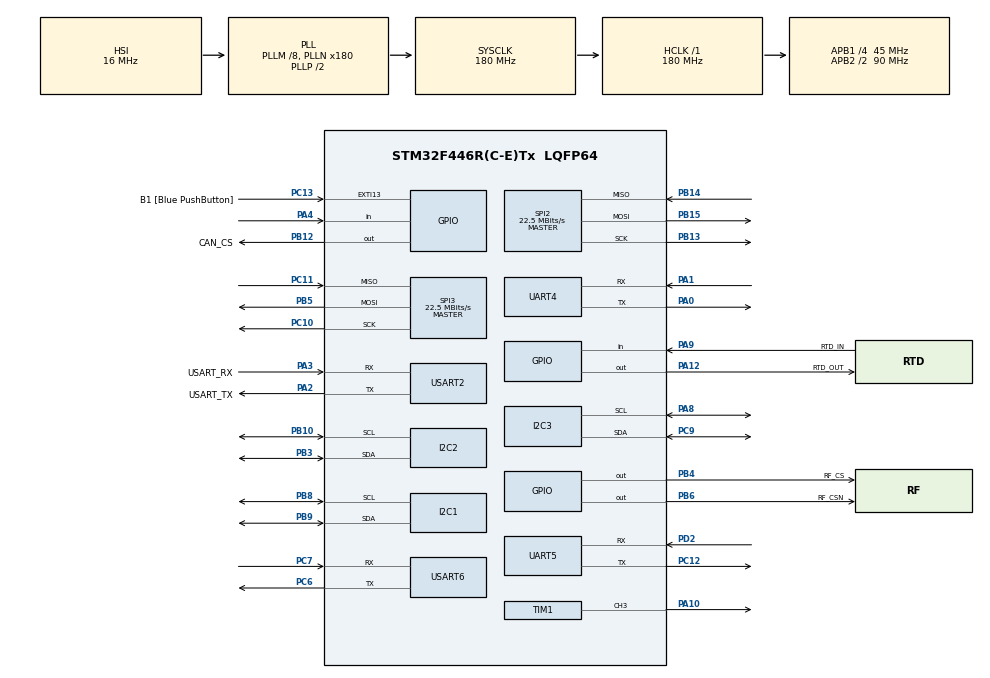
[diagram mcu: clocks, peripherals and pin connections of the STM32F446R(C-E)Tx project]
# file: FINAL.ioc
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Mcu.Family=STM32F4
Mcu.Name=STM32F446R(C-E)Tx
Mcu.Package=LQFP64
NVIC.PriorityGroup=NVIC_PRIORITYGROUP_0
NVIC.UART4_IRQn=true\:0\:0\:false\:false\:true\:true\:true
NVIC.UART5_IRQn=true\:0\:0\:false\:false\:true\:true\:true
PA0-WKUP.Mode=Asynchronous
PA0-WKUP.Signal=UART4_TX
PA1.Mode=Asynchronous
PA1.Signal=UART4_RX
PA10.Signal=S_TIM1_CH3
PA12.GPIO_Label=RTD_OUT
PA12.GPIO_Speed=GPIO_SPEED_FREQ_HIGH
PA12.PinState=GPIO_PIN_RESET
PA12.Signal=GPIO_Output
PA13.GPIO_Label=TMS
PA13.Mode=Serial_Wire
PA13.Signal=SYS_JTMS-SWDIO
PA14.GPIO_Label=TCK
PA14.Mode=Serial_Wire
PA14.Signal=SYS_JTCK-SWCLK
PA2.GPIO_Label=USART_TX
PA2.Mode=Asynchronous
PA2.Signal=USART2_TX
PA3.GPIO_Label=USART_RX
PA3.Mode=Asynchronous
PA3.Signal=USART2_RX
PA4.Signal=GPIO_Input
PA8.Mode=I2C
PA8.Signal=I2C3_SCL
PA9.GPIO_Label=RTD_IN
PA9.Signal=GPIO_Input
PB10.Mode=I2C
PB10.Signal=I2C2_SCL
PB12.GPIO_Label=CAN_CS
PB12.PinState=GPIO_PIN_SET
PB12.Signal=GPIO_Output
PB13.Mode=Full_Duplex_Master
PB13.Signal=SPI2_SCK
PB14.Mode=Full_Duplex_Master
PB14.Signal=SPI2_MISO
PB15.Mode=Full_Duplex_Master
PB15.Signal=SPI2_MOSI
PB3.Mode=I2C
PB3.Signal=I2C2_SDA
PB4.GPIO_Label=RF_CS
PB4.PinState=GPIO_PIN_SET
PB4.Signal=GPIO_Output
PB5.Mode=Full_Duplex_Master
PB5.Signal=SPI3_MOSI
PB6.GPIO_Label=RF_CSN
PB6.PinState=GPIO_PIN_SET
PB6.Signal=GPIO_Output
PB8.Mode=I2C
PB8.Signal=I2C1_SCL
PB9.Mode=I2C
PB9.Signal=I2C1_SDA
PC10.Mode=Full_Duplex_Master
PC10.Signal=SPI3_SCK
PC11.Mode=Full_Duplex_Master
PC11.Signal=SPI3_MISO
PC12.Mode=Asynchronous
PC12.Signal=UART5_TX
PC13.GPIO_Label=B1 [Blue PushButton]
PC13.GPIO_ModeDefaultEXTI=GPIO_MODE_IT_FALLING
PC13.Signal=GPXTI13
PC14-OSC32_IN.Mode=LSE-External-Oscillator
PC14-OSC32_IN.Signal=RCC_OSC32_IN
PC15-OSC32_OUT.Mode=LSE-External-Oscillator
PC15-OSC32_OUT.Signal=RCC_OSC32_OUT
PC6.Mode=Asynchronous
PC6.Signal=USART6_TX
PC7.Mode=Asynchronous
PC7.Signal=USART6_RX
PC9.Mode=I2C
PC9.Signal=I2C3_SDA
PD2.Mode=Asynchronous
PD2.Signal=UART5_RX
PH0-OSC_IN.Mode=HSE-External-Oscillator
PH0-OSC_IN.Signal=RCC_OSC_IN
PH1-OSC_OUT.Mode=HSE-External-Oscillator
PH1-OSC_OUT.Signal=RCC_OSC_OUT
ProjectManager.HeapSize=0x200
ProjectManager.StackSize=0x400
ProjectManager.TargetToolchain=STM32CubeIDE
RCC.48MHZClocksFreq_Value=84000000
RCC.AHBFreq_Value=180000000
RCC.APB1CLKDivider=RCC_HCLK_DIV4
RCC.APB1Freq_Value=45000000
RCC.APB1TimFreq_Value=90000000
RCC.APB2CLKDivider=RCC_HCLK_DIV2
RCC.APB2Freq_Value=90000000
RCC.APB2TimFreq_Value=180000000
RCC.CortexFreq_Value=180000000
RCC.FLatency-AdvancedSettings=FLASH_LATENCY_5
RCC.HCLKFreq_Value=180000000
RCC.HSE_VALUE=8000000
RCC.HSI_VALUE=16000000
RCC.PLLM=8
RCC.PLLN=180
RCC.SYSCLKFreq_VALUE=180000000
RCC.SYSCLKSource=RCC_SYSCLKSOURCE_PLLCLK
RCC.USBFreq_Value=180000000
RCC.VCOOutputFreq_Value=360000000
SH.S_TIM1_CH3.0=TIM1_CH3,PWM Generation3 CH3
SPI2.CalculateBaudRate=22.5 MBits/s
SPI2.Direction=SPI_DIRECTION_2LINES
SPI2.Mode=SPI_MODE_MASTER
SPI2.VirtualType=VM_MASTER
SPI3.CalculateBaudRate=22.5 MBits/s
SPI3.Direction=SPI_DIRECTION_2LINES
SPI3.Mode=SPI_MODE_MASTER
SPI3.VirtualType=VM_MASTER
TIM1.AutoReloadPreload=TIM_AUTORELOAD_PRELOAD_ENABLE
TIM1.Channel-PWM\ Generation3\ CH3=TIM_CHANNEL_3
TIM1.Period=9
TIM1.Prescaler=899
TIM1.Pulse-PWM\ Generation3\ CH3=500
UART4.VirtualMode=Asynchronous
UART5.VirtualMode=Asynchronous
USART2.VirtualMode=VM_ASYNC
USART6.VirtualMode=VM_ASYNC
VP_TIM1_VS_ClockSourceINT.Mode=Internal
board=NUCLEO-F446RE

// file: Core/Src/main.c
/* USER CODE BEGIN Header */
/**
  ******************************************************************************
  * @file           : main.c
  * @brief          : Main program body
  ******************************************************************************
  * @attention
  *
  * <h2><center>&copy; Copyright (c) 2021 STMicroelectronics.
  * All rights reserved.</center></h2>
  *
  * This software component is licensed by ST under BSD 3-Clause license,
  * the "License"; You may not use this file except in compliance with the
  * License. You may obtain a copy of the License at:
  *                        opensource.org/licenses/BSD-3-Clause
  *
  ******************************************************************************
  */
#include "stdio.h"
#include "stm32f4xx_hal.h"
#include "stdio.h"
#include "bno055.h"
#include "string.h"
#include "CANSPI.h"
#include "MCP2515.h"
#include <stdlib.h>
#include "i2c-lcd.h"
#include "stm32_tm1637.h"
#include "MY_NRF24.h"
/* USER CODE END Header */
#include "main.h"
#include "i2c.h"
#include "spi.h"
#include "tim.h"
#include "usart.h"
#include "gpio.h"

/* USER CODE BEGIN Includes */
UART_HandleTypeDef huart4;
UART_HandleTypeDef huart6;
UART_HandleTypeDef huart2;
I2C_HandleTypeDef hi2c3;
I2C_HandleTypeDef hi2c2;
I2C_HandleTypeDef hi2c1;
SPI_HandleTypeDef hspi3;
TIM_HandleTypeDef htim1;
/* USER CODE END Includes */

/* USER CODE BEGIN PTD */
uint8_t receive_data[7];

const uint64_t TxpipeAddrs = 0xE8E8F0F0E1LL; // RF pipe to send
struct {
	int rpm;//for Motor Data
	float imu_x,imu_y,imu_z,motor_torq;//for IMU and Motor Data
	uint8_t B_vol_int,B_vol_div,temp1,temp2,temp3,temp4,temp_max,motor_temp;//for telemetry
}mxTxData;//To send data
char AckPayload[32];
char string_voltage[6];
char string_temperature[6];
char RPM_RR[10];
uCAN_MSG txMessage;
uCAN_MSG rxMessage;
int row=0;
int col=0;
/* USER CODE END PTD */

void SystemClock_Config(void);

int main(void)
{

  /* MCU Configuration--------------------------------------------------------*/

  /* Reset of all peripherals, Initializes the Flash interface and the Systick. */
  HAL_Init();

  /* Configure the system clock */
  SystemClock_Config();

  /* Initialize all configured peripherals */
  MX_GPIO_Init();
  MX_USART2_UART_Init();
  MX_I2C1_Init();
  MX_I2C3_Init();
  MX_SPI2_Init();
  MX_UART4_Init();
  MX_UART5_Init();
  MX_SPI3_Init();
  MX_I2C2_Init();
  MX_USART6_UART_Init();
  MX_TIM1_Init();

  /* Infinite loop */
  /* USER CODE BEGIN WHILE */
  /* Infinite loop */
  enum notes {// For RTDS ready to drive sound
      C4 = 26162,
      D4 = 29366,
      E4 = 32962,
      F4 = 34922,
      G4 = 39199,
	  B4 = 49388,
	  bE4 = 31112,
	  bA4 = 41530,
	  bB4 = 46616,
      C5 = 52325,
	  B5 = 98776,
	  D5 = 58733,
	  bE5 = 62225,
	  E5 = 65925,
	  F5 = 69845,
	  G5 = 78399,
	  bA5 = 83060,
	  bB5 = 93232,
    };
  enum notes A[] = {C4,D4,E4,F4,G4,C5,D5,E5,F5,G5};// To play music

  while(1){// For start buzzer
	GPIO_PinState pin_state= HAL_GPIO_ReadPin(GPIOA,GPIO_PIN_9);
	if(pin_state==GPIO_PIN_SET){
		HAL_Delay(200);
		HAL_TIM_PWM_Start(&htim1, TIM_CHANNEL_3);
		int PCLK1_Freq = HAL_RCC_GetPCLK2Freq();//initial PCLK
		__HAL_TIM_SET_PRESCALER(&htim1,899);//Set to prescaler
		int size = sizeof(A/sizeof(enum notes));
		for (int i = 0 ; i < size ; i++) {
		      __HAL_TIM_SET_AUTORELOAD(&htim1, PCLK1_Freq / A[i]*0.1 );
		      __HAL_TIM_SET_COMPARE(&htim1, TIM_CHANNEL_3, PCLK1_Freq / A[i]*0.1 / 2);
		      HAL_TIM_PWM_Start(&htim1, TIM_CHANNEL_3);
		      HAL_Delay(500);
		      HAL_TIM_PWM_Stop(&htim1, TIM_CHANNEL_3);
		      if(i==size - 1) HAL_Delay(750); // if music is done
		    }
		HAL_TIM_PWM_Stop(&htim1, TIM_CHANNEL_3);
		break;
	}
	HAL_Delay(1000);
}
  //------------------------------------ **** TRANSMIT - ACK ****------------------------------------//
	nrf24_DebugUART_Init(huart2);
    NRF24_begin(GPIOB, GPIO_PIN_6, GPIO_PIN_4, hspi3);

    NRF24_setPALevel(RF24_PA_0dB);
  	NRF24_setAutoAck(false);
  	NRF24_setChannel(80);
  	NRF24_setPayloadSize(28);
  	NRF24_setDataRate(RF24_2MBPS);
  	NRF24_openWritingPipe(TxpipeAddrs);
  	NRF24_stopListening();

  	//------------------------------------ **** MCP2515 Setting ****------------------------------------//
    CANSPI_Initialize();
	//------------------------------------ **** LCD Setting ****------------------------------------//
    lcd_init();
	lcd_clear();
  	HAL_Delay(20);
  	lcd_put_cur(0,0);
  	HAL_Delay(20);
  	lcd_send_string((char*)"B.Temp:");
  	lcd_put_cur(1,0);
  	HAL_Delay(20);
  	lcd_send_string((char*)"B.Vol:");
  	//------------------------------------ **** Segment Setting ****------------------------------------//
  	tm1637Init();
  	tm1637SetBrightness(3);
  	//------------------------------------ **** IMU Setting ****------------------------------------//
  	bno055_calibration_data_t calData;
  	bno055_assignI2C(&hi2c1);
  	bno055_setup();
	bno055_setCalibrationData(calData);//Set init
  	bno055_setOperationMode(BNO055_OPERATION_MODE_IMU);//작동 모드
  	bno055_setPowerMode(BNO55_POWER_MODE_LOWPOWER);//파워 모드
  /* Infinite loop */
  /* USER CODE BEGIN WHILE */
  while (1)
  {
	  //recieve_data : Highest Temperature , Voltage Int, Voltage float , 1~4 segment Temperature Data
	  HAL_UART_Receive(&huart4,receive_data,4,200);// Read Voltage and Celus temperature Data
	  sprintf(string_voltage,"%d.%dV",receive_data[1],receive_data[2]);//Make String Voltage Data
	  sprintf(string_temperature,"%d'C",receive_data[0]);//Make String temperature Data
	  lcd_put_cur(0,7);//Move Cursor
	  HAL_Delay(50);
	  lcd_send_string((char*)string_temperature); // Battery Temperature
	  lcd_put_cur(1,7);//Move Cursor
	  HAL_Delay(50);
	  lcd_send_string((char*)string_voltage); // Battery Voltage
	  	//------------------------------------ **** IMU ****------------------------------------//
	  	  	  bno055_vector_t gyro = bno055_getVectorGyroscope();// gyro vector for x,y,z gryoscope
	  		  bno055_vector_t acc = bno055_getVectorAccelerometer();//acc vector for x,y,z accelerometer
//	  		//------------------------------------ **** CAN_Motor ****------------------------------------//
	  		  HAL_Delay(200);
	  		  txMessage.frame.id=0x80;// To Listen Motor PDO data
	  	 	  txMessage.frame.idType=0x00;
	  	 	  txMessage.frame.dlc=8;// Data length
	  	 	  txMessage.frame.data0=0x00;// To get PDO data
	  	 	  txMessage.frame.data1=0x00;
	  	 	  txMessage.frame.data2=0x00;
	  	 	  txMessage.frame.data3=0x00;
	  	 	  txMessage.frame.data4=0x00;
	  	 	  txMessage.frame.data5=0x00;
	  	 	  txMessage.frame.data6=0x00;
	  	 	  txMessage.frame.data7=0x00;
	  	 	  CANSPI_Transmit(&txMessage);// Send Tx Message to get PDO data
	  	 	  HAL_Delay(200);
	  	 	  if(CANSPI_Receive(&rxMessage))// If Message sent well
	  	 	  {
	  	 		  uint16_t RPM_1= ((uint16_t)rxMessage.frame.data1 << 8) | rxMessage.frame.data0;
	  	 		  uint16_t RPM_2= ((uint16_t)rxMessage.frame.data3 << 8) | rxMessage.frame.data2;
	  	 		  int RPM=	((int)RPM_2 << 16) | RPM_1; // Motor RPM data 4bytes
	  	 		  uint16_t torque_buff= ((uint16_t)rxMessage.frame.data5 << 8) | rxMessage.frame.data4;// Motor Torque data 2bytes
	  	 		  uint16_t temp_buff= ((uint16_t)rxMessage.frame.data1 << 8) | rxMessage.frame.data0;// Motor Temperature 2bytes
	  	 		  sprintf(RPM_RR,"%d",RPM);
	  	 	  	  HAL_Delay(50);
	  	 	 }
	  	//------------------------------------ **** 7Segment ****------------------------------------//

	  	 		  tm1637DisplayDecimal(RPM_RR,1);//Display 7-segment for motor data

	  	//------------------------------------ **** RF_Trans ****------------------------------------//
	  	 	mxTxData.rpm = RPM;

	  	 	mxTxData.imu_x=acc.x;
			mxTxData.imu_y=acc.x;
			mxTxData.imu_z=acc.z;

			mxTxData.motor_temp = temp_buff;
			mxTxData.motor_torq = torque_buff * 0.1;

			mxTxData.B_vol_div = receive_data[2];
			mxTxData.B_vol_int = receive_data[1];
			mxTxData.temp_max= receive_data[0];
			mxTxData.temp1= receive_data[3];
			mxTxData.temp2= receive_data[4];
			mxTxData.temp3= receive_data[5];
			mxTxData.temp4= receive_data[6];
	  if(NRF24_write(txPackage, 28)){// Total Data is 28 bytes and if that goes well
		HAL_UART_Transmit(&huart2, (uint8_t *)"Transmitted Successfully\r\n", strlen("Transmitted Successfully\r\n"), 10);
	  }
	  		  HAL_Delay(100);
  }
    /* USER CODE END WHILE */

}

void SystemClock_Config(void)
{
  RCC_OscInitTypeDef RCC_OscInitStruct = {0};
  RCC_ClkInitTypeDef RCC_ClkInitStruct = {0};

  /** Configure the main internal regulator output voltage
  */
  __HAL_RCC_PWR_CLK_ENABLE();
  __HAL_PWR_VOLTAGESCALING_CONFIG(PWR_REGULATOR_VOLTAGE_SCALE1);
  /** Initializes the RCC Oscillators according to the specified parameters
  * in the RCC_OscInitTypeDef structure.
  */
  RCC_OscInitStruct.OscillatorType = RCC_OSCILLATORTYPE_HSI;
  RCC_OscInitStruct.HSIState = RCC_HSI_ON;
  RCC_OscInitStruct.HSICalibrationValue = RCC_HSICALIBRATION_DEFAULT;
  RCC_OscInitStruct.PLL.PLLState = RCC_PLL_ON;
  RCC_OscInitStruct.PLL.PLLSource = RCC_PLLSOURCE_HSI;
  RCC_OscInitStruct.PLL.PLLM = 8;
  RCC_OscInitStruct.PLL.PLLN = 180;
  RCC_OscInitStruct.PLL.PLLP = RCC_PLLP_DIV2;
  RCC_OscInitStruct.PLL.PLLQ = 2;
  RCC_OscInitStruct.PLL.PLLR = 2;
  if (HAL_RCC_OscConfig(&RCC_OscInitStruct) != HAL_OK)
  {
    Error_Handler();
  }
  /** Activate the Over-Drive mode
  */
  if (HAL_PWREx_EnableOverDrive() != HAL_OK)
  {
    Error_Handler();
  }
  /** Initializes the CPU, AHB and APB buses clocks
  */
  RCC_ClkInitStruct.ClockType = RCC_CLOCKTYPE_HCLK|RCC_CLOCKTYPE_SYSCLK
                              |RCC_CLOCKTYPE_PCLK1|RCC_CLOCKTYPE_PCLK2;
  RCC_ClkInitStruct.SYSCLKSource = RCC_SYSCLKSOURCE_PLLCLK;
  RCC_ClkInitStruct.AHBCLKDivider = RCC_SYSCLK_DIV1;
  RCC_ClkInitStruct.APB1CLKDivider = RCC_HCLK_DIV4;
  RCC_ClkInitStruct.APB2CLKDivider = RCC_HCLK_DIV2;

  if (HAL_RCC_ClockConfig(&RCC_ClkInitStruct, FLASH_LATENCY_5) != HAL_OK)
  {
    Error_Handler();
  }
//}
}

void Error_Handler(void)
{
}

/************************ (C) COPYRIGHT STMicroelectronics *****END OF FILE****/
